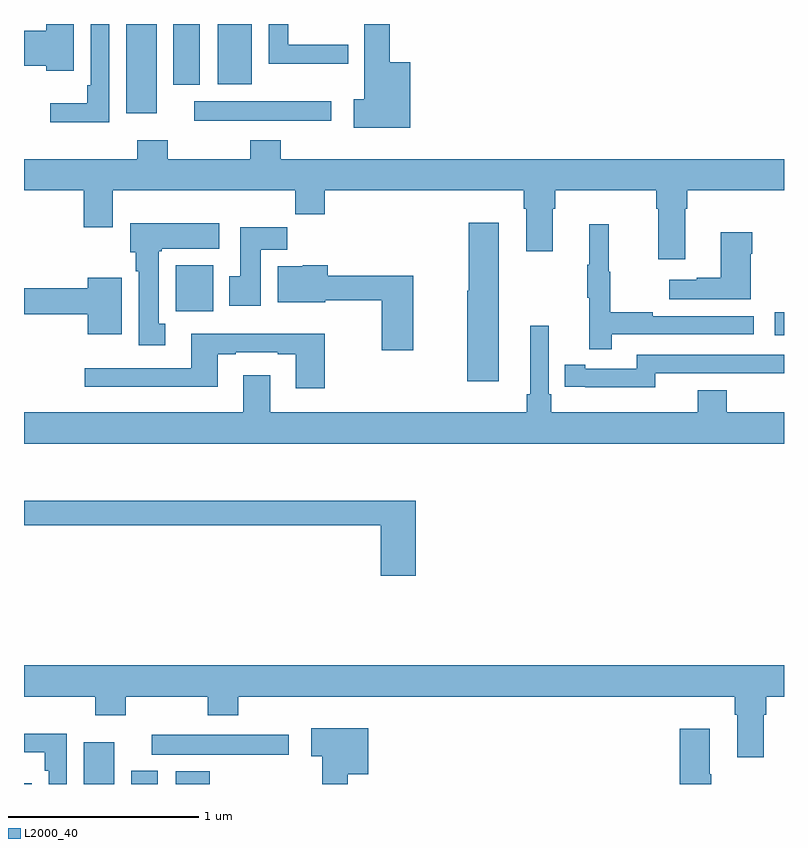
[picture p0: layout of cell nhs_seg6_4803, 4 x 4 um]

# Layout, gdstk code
import gdstk
lib = gdstk.Library(unit=1e-6, precision=1e-09)
def R(c, l, rs):  # rectangles x0, y0, x1, y1
    for r in rs: c.add(gdstk.rectangle(r[:2], r[2:], *l))
def P(c, l, *ps):  # polygons
    for p in ps: c.add(gdstk.Polygon(p, *l))
L2000_40 = (2000, 40)

nhs_seg6_4803 = lib.new_cell('nhs_seg6_4803')
R(nhs_seg6_4803, L2000_40, [(395,989.5,395.041,989.503), (395.315,989.5,395.476,989.719), (395.564,989.5,395.704,989.569), (395.798,989.5,395.977,989.566), (395.673,989.654,396.394,989.758), (398.952,991.863,399,991.983), (395.798,991.988,395.995,992.23), (395.895,992.99,396.616,993.094), (395.537,993.03,395.698,993.5), (395.786,993.179,395.926,993.5), (396.02,993.182,396.199,993.5)])
P(nhs_seg6_4803, L2000_40, [(395.263,993.5),(395.117,993.5),(395.117,993.464),(395,993.464),(395,993.281),(395.117,993.281),(395.117,993.254),(395.263,993.254)],
  [(397.033,993.298),(396.926,993.298),(396.926,993.5),(396.791,993.5),(396.791,993.104),(396.735,993.104),(396.735,992.954),(397.033,992.954)],
  [(395.448,993.5),(395.352,993.5),(395.352,993.178),(395.332,993.178),(395.332,993.082),(395.139,993.082),(395.139,992.984),(395.448,992.984)],
  [(396.706,993.39),(396.391,993.39),(396.391,993.5),(396.287,993.5),(396.287,993.29),(396.706,993.29)],
  [(398.479,992.528),(398.492,992.528),(398.492,992.624),(399,992.624),(399,992.788),(396.35,992.788),(396.35,992.887),(396.19,992.887),(396.19,992.788),(395.757,992.788),(395.757,992.887),(395.597,992.887),(395.597,992.788),(395,992.788),(395,992.624),(395.315,992.624),(395.315,992.43),(395.467,992.43),(395.467,992.624),(396.427,992.624),(396.427,992.5),(396.584,992.5),(396.584,992.624),(397.631,992.624),(397.631,992.528),(397.643,992.528),(397.643,992.304),(397.783,992.304),(397.783,992.528),(397.796,992.528),(397.796,992.624),(398.327,992.624),(398.327,992.528),(398.339,992.528),(398.339,992.262),(398.479,992.262)],
  [(397.498,992.455),(397.34,992.455),(397.34,992.097),(397.334,992.097),(397.334,991.62),(397.498,991.62)],
  [(395.743,991.922),(395.71,991.922),(395.71,992.305),(395.724,992.305),(395.724,992.318),(396.028,992.318),(396.028,992.452),(395.558,992.452),(395.558,992.298),(395.588,992.298),(395.588,992.198),(395.603,992.198),(395.603,991.809),(395.743,991.809)],
  [(398.093,991.866),(398.842,991.866),(398.842,991.962),(398.309,991.962),(398.309,991.982),(398.086,991.982),(398.086,992.196),(398.078,992.196),(398.078,992.446),(397.976,992.446),(397.976,992.233),(397.965,992.233),(397.965,992.059),(397.976,992.059),(397.976,991.788),(398.093,991.788)],
  [(396.247,992.312),(396.386,992.312),(396.386,992.431),(396.137,992.431),(396.137,992.172),(396.08,992.172),(396.08,992.016),(396.247,992.016)],
  [(398.824,992.291),(398.832,992.291),(398.832,992.404),(398.666,992.404),(398.666,992.165),(398.54,992.165),(398.54,992.155),(398.397,992.155),(398.397,992.051),(398.824,992.051)],
  [(397.048,992.176),(396.599,992.176),(396.599,992.23),(396.468,992.23),(396.468,992.224),(396.335,992.224),(396.335,992.036),(396.586,992.036),(396.586,992.047),(396.883,992.047),(396.883,991.782),(397.048,991.782)],
  [(395.515,992.164),(395.336,992.164),(395.336,992.108),(395,992.108),(395,991.972),(395.336,991.972),(395.336,991.868),(395.515,991.868)],
  [(399,991.456),(398.699,991.456),(398.699,991.573),(398.546,991.573),(398.546,991.456),(397.775,991.456),(397.775,991.552),(397.761,991.552),(397.761,991.912),(397.664,991.912),(397.664,991.552),(397.645,991.552),(397.645,991.456),(396.295,991.456),(396.295,991.651),(396.155,991.651),(396.155,991.456),(395,991.456),(395,991.292),(399,991.292)],
  [(396.584,991.87),(395.879,991.87),(395.879,991.689),(395.319,991.689),(395.319,991.592),(396.019,991.592),(396.019,991.761),(396.115,991.761),(396.115,991.773),(396.335,991.773),(396.335,991.761),(396.431,991.761),(396.431,991.584),(396.584,991.584)],
  [(398.322,991.662),(398.782,991.662),(398.782,991.661),(399,991.661),(399,991.758),(398.226,991.758),(398.226,991.686),(397.954,991.686),(397.954,991.706),(397.846,991.706),(397.846,991.59),(397.954,991.59),(397.954,991.589),(398.322,991.589)],
  [(397.061,990.991),(395,990.991),(395,990.862),(396.878,990.862),(396.878,990.597),(397.061,990.597)],
  [(398.893,989.864),(398.906,989.864),(398.906,989.96),(399,989.96),(399,990.124),(395,990.124),(395,989.96),(395.375,989.96),(395.375,989.861),(395.535,989.861),(395.535,989.96),(395.968,989.96),(395.968,989.861),(396.128,989.861),(396.128,989.96),(398.741,989.96),(398.741,989.864),(398.753,989.864),(398.753,989.64),(398.893,989.64)],
  [(396.704,989.552),(396.811,989.552),(396.811,989.794),(396.513,989.794),(396.513,989.645),(396.569,989.645),(396.569,989.5),(396.704,989.5)],
  [(398.616,989.552),(398.608,989.552),(398.608,989.791),(398.45,989.791),(398.45,989.5),(398.616,989.5)],
  [(395.226,989.765),(395,989.765),(395,989.666),(395.11,989.666),(395.11,989.57),(395.13,989.57),(395.13,989.5),(395.226,989.5)])

lib.write_gds('nhs_seg6_4803.gds')
